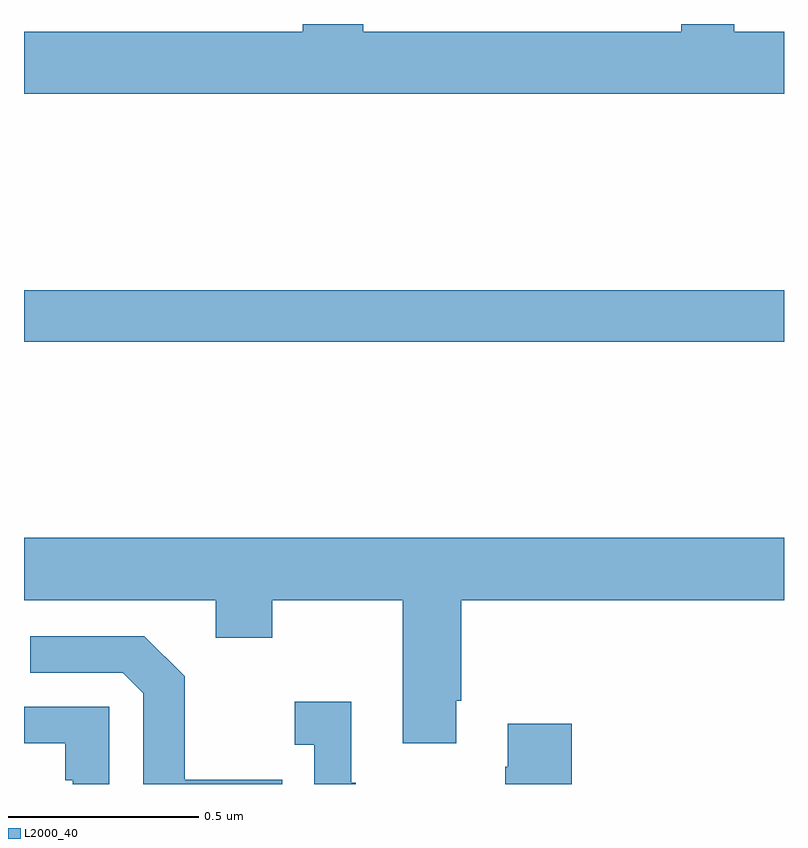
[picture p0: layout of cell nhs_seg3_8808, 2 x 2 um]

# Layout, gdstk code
import gdstk
lib = gdstk.Library(unit=1e-6, precision=1e-09)
def R(c, l, rs):  # rectangles x0, y0, x1, y1
    for r in rs: c.add(gdstk.rectangle(r[:2], r[2:], *l))
def P(c, l, *ps):  # polygons
    for p in ps: c.add(gdstk.Polygon(p, *l))
L2000_40 = (2000, 40)

nhs_seg3_8808 = lib.new_cell('nhs_seg3_8808')
R(nhs_seg3_8808, L2000_40, [(220,733.564,222,733.7)])
P(nhs_seg3_8808, L2000_40, [(222,734.38),(221.869,734.38),(221.869,734.4),(221.729,734.4),(221.729,734.38),(220.893,734.38),(220.893,734.4),(220.733,734.4),(220.733,734.38),(220,734.38),(220,734.216),(222,734.216)],
  [(221.137,732.619),(221.15,732.619),(221.15,732.884),(222,732.884),(222,733.048),(220,733.048),(220,732.884),(220.505,732.884),(220.505,732.785),(220.653,732.785),(220.653,732.884),(220.997,732.884),(220.997,732.507),(221.137,732.507)],
  [(220.679,732.411),(220.423,732.411),(220.423,732.683),(220.317,732.789),(220.017,732.789),(220.017,732.693),(220.26,732.693),(220.314,732.639),(220.314,732.4),(220.679,732.4)],
  [(220.873,732.403),(220.861,732.403),(220.861,732.616),(220.713,732.616),(220.713,732.503),(220.764,732.503),(220.764,732.4),(220.873,732.4)],
  [(220.224,732.603),(220,732.603),(220,732.507),(220.108,732.507),(220.108,732.41),(220.128,732.41),(220.128,732.4),(220.224,732.4)],
  [(221.441,732.559),(221.273,732.559),(221.273,732.446),(221.266,732.446),(221.266,732.4),(221.441,732.4)])

lib.write_gds('nhs_seg3_8808.gds')
